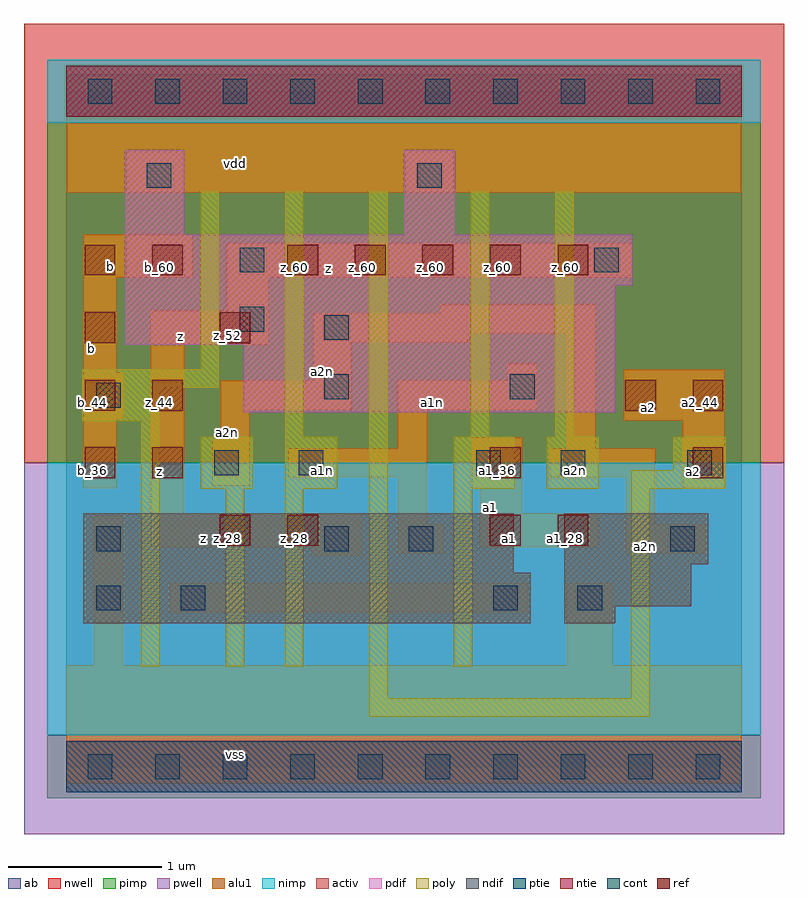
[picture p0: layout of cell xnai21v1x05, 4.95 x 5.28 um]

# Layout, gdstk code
import gdstk
lib = gdstk.Library(unit=1e-6, precision=2.5e-09)
def R(c, l, rs):  # rectangles x0, y0, x1, y1
    for r in rs: c.add(gdstk.rectangle(r[:2], r[2:], *l))
def A(c, l, x, y, w, h, nx, ny, dx, dy):  # array of equal rectangles
    R(c, l, [(x+i*dx, y+j*dy, x+i*dx+w, y+j*dy+h) for i in range(nx) for j in range(ny)])
ndif = (3, 0)
pdif = (4, 0)
ntie = (5, 0)
ptie = (6, 0)
ref = (24, 0)
cont = (25, 0)
pwell = (41, 0)
nwell = (42, 0)
activ = (43, 0)
pimp = (44, 0)
nimp = (45, 0)
poly = (46, 0)
alu1 = (49, 0)
ab = (63, 0)

xnai21v1x05 = lib.new_cell('xnai21v1x05')
R(xnai21v1x05, ndif, [(0.11,0.935,3.025,1.265), (3.245,0.935,3.575,1.045), (3.245,1.045,4.07,1.32), (0.11,1.265,2.915,1.65), (3.245,1.32,4.18,1.65)])
R(xnai21v1x05, pdif, [(1.155,2.31,3.575,2.75), (0.385,2.75,3.575,3.135), (0.385,3.135,3.685,3.465), (0.385,3.465,0.77,4.015), (2.2,3.465,2.53,4.015)])
R(xnai21v1x05, ntie, [(0,4.235,4.4,4.565)])
R(xnai21v1x05, ptie, [(0,-0.165,4.4,0.165)])
A(xnai21v1x05, ref, 0.12, 1.88, 0.2, 0.2, 1, 4, 0, 0.44)
A(xnai21v1x05, ref, 1.44, 3.2, 0.2, 0.2, 5, 1, 0.44, 0)
R(xnai21v1x05, ref, [(1,1.44,1.2,1.64), (1.44,1.44,1.64,1.64), (2.76,1.44,2.96,1.64), (3.2,1.44,3.4,1.64), (0.56,1.88,0.76,2.08), (2.76,1.88,2.96,2.08), (4.08,1.88,4.28,2.08), (0.56,2.32,0.76,2.52), (3.64,2.32,3.84,2.52), (4.08,2.32,4.28,2.52), (1,2.76,1.2,2.96), (0.56,3.2,0.76,3.4)])
A(xnai21v1x05, cont, 0.14, -0.08, 0.16, 0.16, 10, 2, 0.44, 4.4)
R(xnai21v1x05, cont, [(0.195,1.02,0.355,1.18), (0.745,1.02,0.905,1.18), (2.78,1.02,2.94,1.18), (3.33,1.02,3.49,1.18), (0.195,1.405,0.355,1.565), (1.68,1.405,1.84,1.565), (2.23,1.405,2.39,1.565), (3.935,1.405,4.095,1.565), (0.965,1.9,1.125,2.06), (1.515,1.9,1.675,2.06), (2.67,1.9,2.83,2.06), (3.22,1.9,3.38,2.06), (4.045,1.9,4.205,2.06), (0.195,2.34,0.355,2.5), (1.68,2.395,1.84,2.555), (2.89,2.395,3.05,2.555), (1.68,2.78,1.84,2.94), (1.13,2.835,1.29,2.995), (1.13,3.22,1.29,3.38), (3.44,3.22,3.6,3.38), (0.525,3.77,0.685,3.93), (2.285,3.77,2.445,3.93)])
R(xnai21v1x05, pwell, [(-0.275,-0.44,4.675,1.98)])
R(xnai21v1x05, nwell, [(-0.275,1.98,4.675,4.84)])
R(xnai21v1x05, activ, [(0,-0.165,4.4,0.165), (0.11,0.935,3.025,1.265), (3.245,0.935,3.575,1.045), (3.245,1.045,4.07,1.32), (0.11,1.265,2.915,1.65), (3.245,1.32,4.18,1.65), (1.155,2.31,3.575,2.75), (0.385,2.75,3.575,3.135), (0.385,3.135,3.685,3.465), (0.385,3.465,0.77,4.015), (2.2,3.465,2.53,4.015), (0,4.235,4.4,4.565)])
R(xnai21v1x05, pimp, [(-0.125,-0.205,4.525,0.205), (-0.125,1.98,4.525,4.195)])
R(xnai21v1x05, nimp, [(-0.125,0.205,4.525,1.98), (-0.125,4.195,4.525,4.605)])
R(xnai21v1x05, poly, [(1.975,0.325,3.8,0.445), (1.975,0.445,2.095,3.745), (3.68,0.445,3.8,1.81), (0.49,0.655,0.61,2.25), (1.04,0.655,1.16,1.81), (1.425,0.655,1.545,1.81), (2.525,0.655,2.645,1.81), (0.875,1.81,1.215,2.15), (1.425,1.81,1.765,2.15), (2.525,1.81,2.92,2.15), (3.13,1.81,3.47,2.15), (3.68,1.81,4.295,1.93), (3.955,1.93,4.295,2.15), (1.425,2.15,1.545,3.745), (2.635,2.15,2.755,3.745), (3.185,2.15,3.305,3.745), (0.105,2.25,0.61,2.47), (0.105,2.47,0.995,2.59), (0.875,2.59,0.995,3.745)])
R(xnai21v1x05, alu1, [(0,-0.11,4.4,0.66), (0.18,0.66,0.37,1.635), (3.26,0.66,3.56,1.195), (0.675,1.005,3.01,1.195), (1.595,1.375,1.925,1.43), (2.16,1.39,2.46,1.58), (3.645,1.39,4.165,1.58), (0.55,1.43,1.925,1.65), (2.695,1.43,3.465,1.65), (2.16,1.58,2.35,1.885), (3.645,1.58,3.835,1.885), (0.55,1.65,0.77,2.75), (2.695,1.65,2.97,1.815), (0.11,1.815,0.33,2.27), (2.64,1.815,2.97,2.145), (4.015,1.815,4.29,2.255), (0.95,1.83,1.195,2.13), (1.445,1.885,2.35,2.075), (3.15,1.885,3.835,2.075), (2.16,2.075,2.35,2.325), (3.26,2.075,3.45,2.82), (1.005,2.13,1.195,2.325), (3.63,2.255,4.29,2.585), (0.11,2.27,0.37,2.57), (1.005,2.325,1.855,2.515), (2.16,2.325,3.065,2.515), (1.61,2.515,1.855,2.765), (2.875,2.515,3.065,2.625), (0.11,2.57,0.33,3.19), (0.55,2.75,1.32,2.97), (1.61,2.765,2.625,2.82), (1.61,2.82,3.45,2.955), (2.435,2.955,3.45,3.01), (1.045,2.97,1.32,3.19), (0.11,3.19,0.825,3.465), (1.045,3.19,3.685,3.41), (0,3.74,4.4,4.51)])
R(xnai21v1x05, ab, [(0,0,4.4,4.4)])
xnai21v1x05.add(gdstk.Label('vss', (1.1,0.0825), layer=49, texttype=0))
xnai21v1x05.add(gdstk.Label('a2n', (3.775,1.4375), layer=49, texttype=0))
xnai21v1x05.add(gdstk.Label('a2', (4.0825,1.925), layer=49, texttype=0))
xnai21v1x05.add(gdstk.Label('a1', (2.8875,1.485), layer=49, texttype=0))
xnai21v1x05.add(gdstk.Label('a1', (2.7625,1.69), layer=49, texttype=0))
xnai21v1x05.add(gdstk.Label('a2n', (3.32,1.9325), layer=49, texttype=0))
xnai21v1x05.add(gdstk.Label('a2', (3.795,2.3375), layer=49, texttype=0))
xnai21v1x05.add(gdstk.Label('z', (0.8925,1.485), layer=49, texttype=0))
xnai21v1x05.add(gdstk.Label('a1n', (1.67,1.9325), layer=49, texttype=0))
xnai21v1x05.add(gdstk.Label('a2n', (1.0525,2.1775), layer=49, texttype=0))
xnai21v1x05.add(gdstk.Label('a1n', (2.385,2.3725), layer=49, texttype=0))
xnai21v1x05.add(gdstk.Label('a2n', (1.67,2.5775), layer=49, texttype=0))
xnai21v1x05.add(gdstk.Label('z', (0.605,1.925), layer=49, texttype=0))
xnai21v1x05.add(gdstk.Label('z', (0.7425,2.805), layer=49, texttype=0))
xnai21v1x05.add(gdstk.Label('b', (0.165,2.725), layer=49, texttype=0))
xnai21v1x05.add(gdstk.Label('z', (1.705,3.245), layer=49, texttype=0))
xnai21v1x05.add(gdstk.Label('b', (0.2875,3.2575), layer=49, texttype=0))
xnai21v1x05.add(gdstk.Label('vdd', (1.1,3.9325), layer=49, texttype=0))
xnai21v1x05.add(gdstk.Label('a2_36', (4.13,1.93), layer=24, texttype=0))
xnai21v1x05.add(gdstk.Label('a2_44', (3.69,2.37), layer=24, texttype=0))
xnai21v1x05.add(gdstk.Label('a2_44', (4.13,2.37), layer=24, texttype=0))
xnai21v1x05.add(gdstk.Label('a1_28', (3.25,1.49), layer=24, texttype=0))
xnai21v1x05.add(gdstk.Label('a1_28', (2.81,1.49), layer=24, texttype=0))
xnai21v1x05.add(gdstk.Label('z_28', (1.05,1.49), layer=24, texttype=0))
xnai21v1x05.add(gdstk.Label('b_60', (0.17,3.25), layer=24, texttype=0))
xnai21v1x05.add(gdstk.Label('b_60', (0.61,3.25), layer=24, texttype=0))
xnai21v1x05.add(gdstk.Label('b_52', (0.17,2.81), layer=24, texttype=0))
xnai21v1x05.add(gdstk.Label('z_28', (1.49,1.49), layer=24, texttype=0))
xnai21v1x05.add(gdstk.Label('z_44', (0.61,2.37), layer=24, texttype=0))
xnai21v1x05.add(gdstk.Label('b_44', (0.17,2.37), layer=24, texttype=0))
xnai21v1x05.add(gdstk.Label('z_36', (0.61,1.93), layer=24, texttype=0))
xnai21v1x05.add(gdstk.Label('b_36', (0.17,1.93), layer=24, texttype=0))
xnai21v1x05.add(gdstk.Label('z_52', (1.05,2.81), layer=24, texttype=0))
xnai21v1x05.add(gdstk.Label('a1_36', (2.81,1.93), layer=24, texttype=0))
xnai21v1x05.add(gdstk.Label('z_60', (3.25,3.25), layer=24, texttype=0))
xnai21v1x05.add(gdstk.Label('z_60', (1.49,3.25), layer=24, texttype=0))
xnai21v1x05.add(gdstk.Label('z_60', (1.93,3.25), layer=24, texttype=0))
xnai21v1x05.add(gdstk.Label('z_60', (2.37,3.25), layer=24, texttype=0))
xnai21v1x05.add(gdstk.Label('z_60', (2.81,3.25), layer=24, texttype=0))

lib.write_gds('xnai21v1x05.gds')
